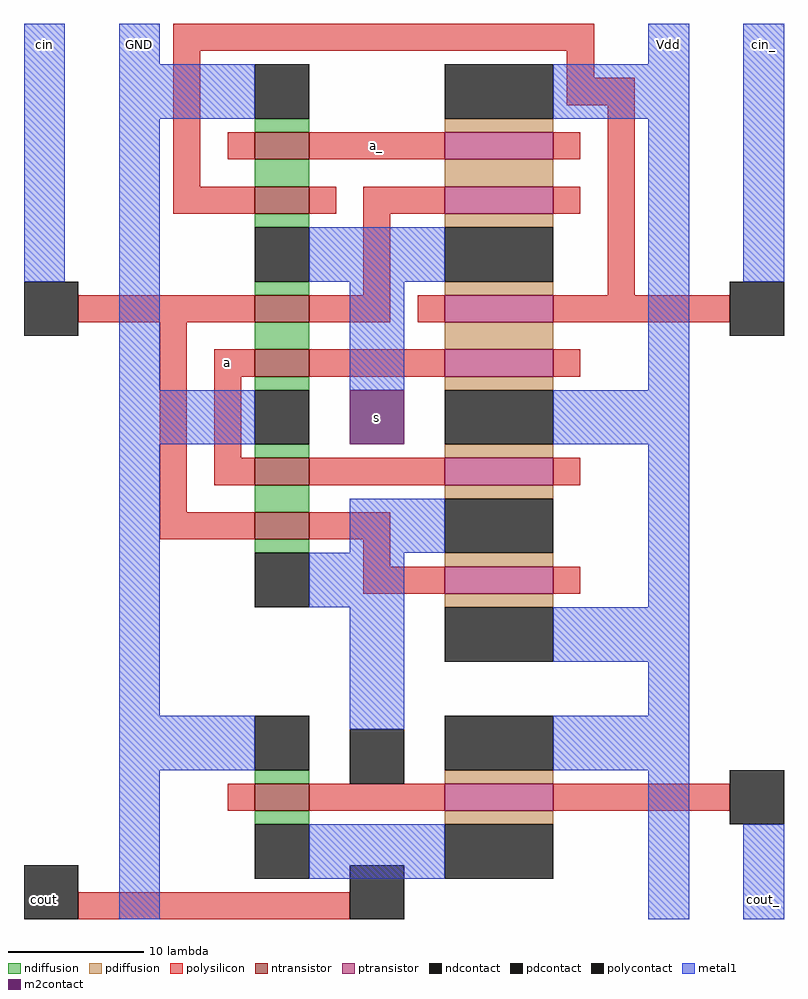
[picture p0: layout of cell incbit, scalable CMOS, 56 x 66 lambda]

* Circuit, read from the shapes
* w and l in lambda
.subckt incbit GND Vdd a a_ cin cin_ cout cout_ s
M1 GND cout_ cout VSUBS nfet w=4 l=2
M2 n1 cin cout_ VSUBS nfet w=4 l=2
M3 GND a n1 VSUBS nfet w=4 l=2
M4 n2 a GND VSUBS nfet w=4 l=2
M5 s cin n2 VSUBS nfet w=4 l=2
M6 n3 cin_ s VSUBS nfet w=4 l=2
M7 GND a_ n3 VSUBS nfet w=4 l=2
M8 Vdd cout_ cout NWELL pfet w=8 l=2
M9 cout_ cin Vdd NWELL pfet w=8 l=2
M10 Vdd a cout_ NWELL pfet w=8 l=2
M11 n4 a Vdd NWELL pfet w=8 l=2
M12 s cin_ n4 NWELL pfet w=8 l=2
M13 n5 cin s NWELL pfet w=8 l=2
M14 Vdd a_ n5 NWELL pfet w=8 l=2
.ends

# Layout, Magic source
magic
tech scmos
<< polysilicon >>
rect 14 21 16 23
rect -7 9 4 11
rect 32 9 41 11
rect -1 -5 1 9
rect 3 -1 5 7
rect 3 -3 6 -1
rect 10 -3 20 -1
rect 28 -3 30 -1
rect -1 -7 6 -5
rect 10 -7 16 -5
rect 14 -9 16 -7
rect 14 -11 20 -9
rect 28 -11 30 -9
rect 30 -27 41 -25
rect -7 -35 13 -33
<< ndiffusion >>
rect 6 -1 10 0
rect 6 -5 10 -3
rect 6 -8 10 -7
<< pdiffusion >>
rect 20 -1 28 0
rect 20 -4 28 -3
rect 20 -9 28 -8
rect 20 -12 28 -11
<< metal1 >>
rect -11 12 -8 31
rect -4 28 -1 31
rect 35 28 38 31
rect -4 24 6 28
rect 28 24 38 28
rect -4 4 -1 24
rect 13 4 17 12
rect 35 4 38 24
rect 42 12 45 31
rect -4 0 6 4
rect 28 0 38 4
rect -4 -20 -1 0
rect 13 -8 20 -4
rect 10 -12 17 -8
rect 35 -12 38 0
rect -4 -24 6 -20
rect 13 -21 17 -12
rect 28 -16 38 -12
rect 35 -20 38 -16
rect -4 -35 -1 -24
rect 28 -24 38 -20
rect 35 -35 38 -24
rect 42 -35 45 -28
<< ntransistor >>
rect 6 -3 10 -1
rect 6 -7 10 -5
<< ptransistor >>
rect 20 -3 28 -1
rect 20 -11 28 -9
<< polycontact >>
rect -11 8 -7 12
rect 41 8 45 12
rect 13 -25 17 -21
rect 41 -28 45 -24
rect -11 -35 -7 -31
rect 13 -35 17 -31
<< ndcontact >>
rect 6 0 10 4
rect 6 -12 10 -8
<< pdcontact >>
rect 20 0 28 4
rect 20 -8 28 -4
rect 20 -16 28 -12
<< m2contact >>
rect 13 0 17 4
use xor  xor_0
transform 1 0 6 0 1 0
box -6 0 28 31
use inverter  inverter_0
transform 0 1 -1 -1 0 -25
box -5 5 7 31
<< labels >>
rlabel polycontact -11 -35 -8 -32 2 cout
rlabel m2contact 13 0 17 4 1 s
rlabel metal1 -11 28 -8 31 4 cin
rlabel metal1 42 28 45 31 6 cin_
rlabel metal1 35 28 38 31 5 Vdd
rlabel metal1 -4 28 -1 31 5 GND
rlabel polysilicon 14 21 16 23 1 a_
rlabel polysilicon 3 5 5 7 1 a
rlabel metal1 42 -35 45 -32 8 cout_
<< end >>

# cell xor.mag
magic
tech scmos
<< polysilicon >>
rect -6 29 25 31
rect -6 19 -4 29
rect 23 27 25 29
rect 23 25 28 27
rect -2 21 0 23
rect 4 21 14 23
rect 22 21 24 23
rect -6 17 0 19
rect 4 17 6 19
rect 8 17 14 19
rect 22 17 24 19
rect 8 11 10 17
rect 26 11 28 25
rect -2 9 0 11
rect 4 9 10 11
rect 12 9 14 11
rect 22 9 28 11
rect -2 5 0 7
rect 4 5 14 7
rect 22 5 24 7
<< ndiffusion >>
rect 0 23 4 24
rect 0 19 4 21
rect 0 16 4 17
rect 0 11 4 12
rect 0 7 4 9
rect 0 4 4 5
<< pdiffusion >>
rect 14 23 22 24
rect 14 19 22 21
rect 14 16 22 17
rect 14 11 22 12
rect 14 7 22 9
rect 14 4 22 5
<< metal1 >>
rect 4 12 14 16
<< ntransistor >>
rect 0 21 4 23
rect 0 17 4 19
rect 0 9 4 11
rect 0 5 4 7
<< ptransistor >>
rect 14 21 22 23
rect 14 17 22 19
rect 14 9 22 11
rect 14 5 22 7
<< ndcontact >>
rect 0 24 4 28
rect 0 12 4 16
rect 0 0 4 4
<< pdcontact >>
rect 14 24 22 28
rect 14 12 22 16
rect 14 0 22 4
<< labels >>
rlabel polysilicon -1 22 -1 22 3 a
rlabel polysilicon -1 10 -1 10 3 b
rlabel polysilicon -1 6 -1 6 3 a_
rlabel polysilicon -1 18 -1 18 3 b_
rlabel metal1 9 14 9 14 1 out
<< end >>

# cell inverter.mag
magic
tech scmos
<< polysilicon >>
rect 0 29 2 31
rect 0 11 2 21
rect 0 5 2 7
<< ndiffusion >>
rect -1 7 0 11
rect 2 7 3 11
<< pdiffusion >>
rect -1 21 0 29
rect 2 21 3 29
<< metal1 >>
rect 3 11 7 21
<< ntransistor >>
rect 0 7 2 11
<< ptransistor >>
rect 0 21 2 29
<< ndcontact >>
rect -5 7 -1 11
rect 3 7 7 11
<< pdcontact >>
rect -5 21 -1 29
rect 3 21 7 29
<< labels >>
rlabel metal1 5 16 5 16 7 out
<< end >>
